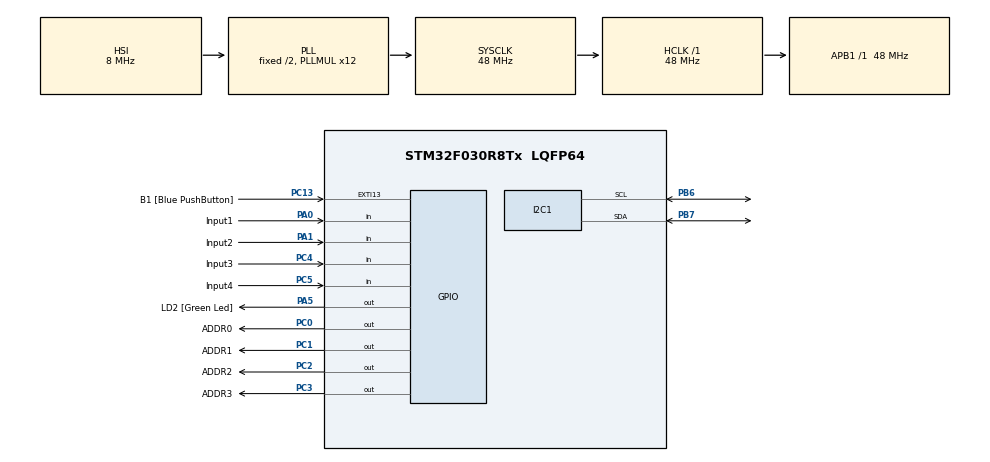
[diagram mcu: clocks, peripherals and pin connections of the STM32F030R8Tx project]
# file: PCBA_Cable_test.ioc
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I2C1.Speed=10
I2C1.Timing=0x200009FE
Mcu.Family=STM32F0
Mcu.Name=STM32F030R8Tx
Mcu.Package=LQFP64
NVIC.EXTI4_15_IRQn=true\:0\:0\:false\:false\:true\:true\:true\:true
NVIC.TIM3_IRQn=true\:0\:0\:false\:false\:true\:true\:true\:true
PA0.GPIO_Label=Input1
PA0.GPIO_PuPd=GPIO_PULLDOWN
PA0.Signal=GPIO_Input
PA1.GPIO_Label=Input2
PA1.GPIO_PuPd=GPIO_PULLDOWN
PA1.Signal=GPIO_Input
PA13.GPIO_Label=TMS
PA13.Mode=Serial_Wire
PA13.Signal=SYS_SWDIO
PA14.GPIO_Label=TCK
PA14.Mode=Serial_Wire
PA14.Signal=SYS_SWCLK
PA5.GPIO_Label=LD2 [Green Led]
PA5.GPIO_Mode=GPIO_MODE_OUTPUT_PP
PA5.GPIO_PuPd=GPIO_NOPULL
PA5.GPIO_Speed=GPIO_SPEED_FREQ_LOW
PA5.Signal=GPIO_Output
PB6.Mode=I2C
PB6.Signal=I2C1_SCL
PB7.Mode=I2C
PB7.Signal=I2C1_SDA
PC0.GPIO_Label=ADDR0
PC0.Signal=GPIO_Output
PC1.GPIO_Label=ADDR1
PC1.Signal=GPIO_Output
PC13.GPIO_Label=B1 [Blue PushButton]
PC13.GPIO_PuPd=GPIO_PULLUP
PC13.Signal=GPXTI13
PC14-OSC32_IN.Mode=LSE-External-Oscillator
PC14-OSC32_IN.Signal=RCC_OSC32_IN
PC15-OSC32_OUT.Mode=LSE-External-Oscillator
PC15-OSC32_OUT.Signal=RCC_OSC32_OUT
PC2.GPIO_Label=ADDR2
PC2.Signal=GPIO_Output
PC3.GPIO_Label=ADDR3
PC3.Signal=GPIO_Output
PC4.GPIO_Label=Input3
PC4.GPIO_PuPd=GPIO_PULLDOWN
PC4.Signal=GPIO_Input
PC5.GPIO_Label=Input4
PC5.GPIO_PuPd=GPIO_PULLDOWN
PC5.Signal=GPIO_Input
PF0-OSC_IN.Mode=HSE-External-Clock-Source
PF0-OSC_IN.Signal=RCC_OSC_IN
PF1-OSC_OUT.Signal=RCC_OSC_OUT
ProjectManager.HeapSize=0x200
ProjectManager.StackSize=0x400
ProjectManager.TargetToolchain=STM32CubeIDE
RCC.AHBFreq_Value=48000000
RCC.APB1Freq_Value=48000000
RCC.APB1TimFreq_Value=48000000
RCC.HCLKFreq_Value=48000000
RCC.PLLMUL=RCC_PLL_MUL12
RCC.SYSCLKFreq_VALUE=48000000
RCC.SYSCLKSource=RCC_SYSCLKSOURCE_PLLCLK
TIM3.Period=49999
TIM3.Prescaler=47
VP_TIM3_VS_ClockSourceINT.Mode=Internal
board=NUCLEO-F030R8

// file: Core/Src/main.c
/* USER CODE BEGIN Header */
/**
  ******************************************************************************
  * @file           : main.c
  * @brief          : Main program body
  ******************************************************************************
  * @attention
  *
  * Copyright (c) 2024 STMicroelectronics.
  * All rights reserved.
  *
  * This software is licensed under terms that can be found in the LICENSE file
  * in the root directory of this software component.
  * If no LICENSE file comes with this software, it is provided AS-IS.
  *
  ******************************************************************************
  */
/* USER CODE END Header */
#include "main.h"

I2C_HandleTypeDef hi2c1;

TIM_HandleTypeDef htim3;

/* USER CODE BEGIN PV */

static uint8_t init[9] = {0x80, 0x28, 0x80, 0x0C, 0x80, 0x01, 0x02}; // init
static uint8_t pin[6] = {0x80, 0x06, 0x62, 0x50, 0x49, 0x4E}; //pin

  uint8_t lineone[2] = {0x80, 0x06};
  uint8_t linetwo_0[2] = {0x80, 0xC0};
  uint8_t linetwo_3[2] = {0x80, 0xC3};
  //uint8_t S_1[2] = {0x40, 0x31};
  uint8_t S_1[3] = {0x40, 0x31, 0x20};
  //uint8_t S_1[2] = {64, 49};
  uint8_t S_2[2] = {0x40, 0x32};
  uint8_t S_3[2] = {0x40, 0x33};
  uint8_t S_4[2] = {0x40, 0x34};
  uint8_t S_5[2] = {0x40, 0x35};
  uint8_t S_6[2] = {0x40, 0x36};
  uint8_t S_7[2] = {0x40, 0x37};
  uint8_t S_8[2] = {0x40, 0x38};
  uint8_t S_9[2] = {0x40, 0x39};
  uint8_t S_10[3] = {0x40, 0x31, 0x30};
  uint8_t S_11[3] = {0x40, 0x31, 0x31};
  uint8_t S_12[3] = {0x40, 0x31, 0x32};
  uint8_t S_13[3] = {0x40, 0x31, 0x33};
  uint8_t S_14[3] = {0x40, 0x31, 0x34};
  uint8_t S_15[3] = {0x40, 0x31, 0x35};
  uint8_t S_16[3] = {0x40, 0x31, 0x36};
  uint8_t S_17[3] = {0x40, 0x31, 0x37};
  uint8_t S_18[3] = {0x40, 0x31, 0x38};
  uint8_t S_19[3] = {0x40, 0x31, 0x39};

  uint8_t space [3] = {0x40, 0x20, 0x20};

  int binary_array[4];
  int temp=0;
  int n;
  const int size = 4;
  int send_ready=0;

  //const int size = 4;
  // Define a structure to hold binary values

/* USER CODE END PV */

void SystemClock_Config(void);
static void MX_GPIO_Init(void);
static void MX_I2C1_Init(void);
static void MX_TIM3_Init(void);

/* USER CODE BEGIN 0 */

struct STR{
   unsigned int A : 1;
   unsigned int B : 1;
   unsigned int C : 1;
   unsigned int D : 1;
   unsigned int rest : 4;
};

union u_STR_S {
    struct STR member1;
    unsigned int member2;
};

union u_STR_S u_STR;
struct STR STR_test;
unsigned int a = 2;

/* USER CODE END 0 */

int main(void)
{

  /* MCU Configuration--------------------------------------------------------*/

  /* Reset of all peripherals, Initializes the Flash interface and the Systick. */
  HAL_Init();

  /* Configure the system clock */
  SystemClock_Config();

  /* Initialize all configured peripherals */
  MX_GPIO_Init();
  MX_I2C1_Init();
  MX_TIM3_Init();
  /* USER CODE BEGIN 2 */

  HAL_TIM_Base_Start_IT(&htim3);

  HAL_I2C_Master_Transmit(&hi2c1, 0x7C, &init, 7, 100);

  HAL_I2C_Master_Transmit(&hi2c1, 0x7C, &pin, 6, 100);

  /* USER CODE END 2 */

  /* Infinite loop */
  while (1)
  {

    /* USER CODE BEGIN 3 */

		if(send_ready == 1)
		{
			HAL_I2C_Master_Transmit(&hi2c1, 0x7C, &linetwo_0, 2, 100); // zmień linię na 2
			HAL_I2C_Master_Transmit(&hi2c1, 0x7C, &S_1, 3, 100);  // pin 1
			HAL_Delay(1000);
			send_ready = 0;

		}else if (temp == 0)
		{

			HAL_I2C_Master_Transmit(&hi2c1, 0x7C, &linetwo_0, 2, 100);
			HAL_I2C_Master_Transmit(&hi2c1, 0x7C, &space, 3, 100);
			HAL_I2C_Master_Transmit(&hi2c1, 0x7C, &linetwo_3, 2, 100);
			HAL_I2C_Master_Transmit(&hi2c1, 0x7C, &space, 3, 100);
		}

	  /*

    for (int count = 0; count <= 15; count++) {
//adresowanie multiplekserów od 0 to 15

        //int temp = count; // temp staje się globalny

    	temp = count;
        int n;
				//for (int i = size - 1; i >= 0; i--)
				for (int i = 0; i < size; i++)
				{

					n = power (2, i);
					binary_array[i] = temp % 2;
					if (binary_array[i] == 1)
						{
							HAL_GPIO_WritePin(GPIOC, n, GPIO_PIN_SET);
							HAL_Delay(20);
						}
					else if(binary_array[i] == 0)
						{
							HAL_GPIO_WritePin(GPIOC, n, GPIO_PIN_RESET);
							HAL_Delay(20);
						}

					temp /= 2;
//					HAL_Delay(50);

				}

/*				if (HAL_GPIO_ReadPin(GPIOA, Input1_Pin)==GPIO_PIN_SET)

					{
						if (count <=9)
						{
							S_1[1] = 48 + count;
							S_1[2] = 32;
						}
							else
						{
							S_1[1] = 49;
							S_1[2] = 48 + count-10;
						}
						HAL_I2C_Master_Transmit(&hi2c1, 0x7C, &linetwo_0, 2, 100); // zmień linię na 2
						HAL_I2C_Master_Transmit(&hi2c1, 0x7C, &S_1, 3, 100);  // pin 1
//						HAL_Delay(150);
					}

				if (HAL_GPIO_ReadPin(GPIOA, Input2_Pin)==GPIO_PIN_SET)
					{
					  HAL_I2C_Master_Transmit(&hi2c1, 0x7C, &linetwo_3, 2, 100); // zmień linię na 2
					  HAL_I2C_Master_Transmit(&hi2c1, 0x7C, &S_17, 3, 100);  // pin 1
					}

    }
*/

  }
  /* USER CODE END 3 */
}

void SystemClock_Config(void)
{
  RCC_OscInitTypeDef RCC_OscInitStruct = {0};
  RCC_ClkInitTypeDef RCC_ClkInitStruct = {0};
  RCC_PeriphCLKInitTypeDef PeriphClkInit = {0};

  /** Initializes the RCC Oscillators according to the specified parameters
  * in the RCC_OscInitTypeDef structure.
  */
  RCC_OscInitStruct.OscillatorType = RCC_OSCILLATORTYPE_HSI;
  RCC_OscInitStruct.HSIState = RCC_HSI_ON;
  RCC_OscInitStruct.HSICalibrationValue = RCC_HSICALIBRATION_DEFAULT;
  RCC_OscInitStruct.PLL.PLLState = RCC_PLL_ON;
  RCC_OscInitStruct.PLL.PLLSource = RCC_PLLSOURCE_HSI;
  RCC_OscInitStruct.PLL.PLLMUL = RCC_PLL_MUL12;
  RCC_OscInitStruct.PLL.PREDIV = RCC_PREDIV_DIV1;
  if (HAL_RCC_OscConfig(&RCC_OscInitStruct) != HAL_OK)
  {
    Error_Handler();
  }

  /** Initializes the CPU, AHB and APB buses clocks
  */
  RCC_ClkInitStruct.ClockType = RCC_CLOCKTYPE_HCLK|RCC_CLOCKTYPE_SYSCLK
                              |RCC_CLOCKTYPE_PCLK1;
  RCC_ClkInitStruct.SYSCLKSource = RCC_SYSCLKSOURCE_PLLCLK;
  RCC_ClkInitStruct.AHBCLKDivider = RCC_SYSCLK_DIV1;
  RCC_ClkInitStruct.APB1CLKDivider = RCC_HCLK_DIV1;

  if (HAL_RCC_ClockConfig(&RCC_ClkInitStruct, FLASH_LATENCY_1) != HAL_OK)
  {
    Error_Handler();
  }
  PeriphClkInit.PeriphClockSelection = RCC_PERIPHCLK_I2C1;
  PeriphClkInit.I2c1ClockSelection = RCC_I2C1CLKSOURCE_HSI;
  if (HAL_RCCEx_PeriphCLKConfig(&PeriphClkInit) != HAL_OK)
  {
    Error_Handler();
  }
}

static void MX_I2C1_Init(void)
{

  hi2c1.Instance = I2C1;
  hi2c1.Init.Timing = 0x200009FE;
  hi2c1.Init.OwnAddress1 = 0;
  hi2c1.Init.AddressingMode = I2C_ADDRESSINGMODE_7BIT;
  hi2c1.Init.DualAddressMode = I2C_DUALADDRESS_DISABLE;
  hi2c1.Init.OwnAddress2 = 0;
  hi2c1.Init.OwnAddress2Masks = I2C_OA2_NOMASK;
  hi2c1.Init.GeneralCallMode = I2C_GENERALCALL_DISABLE;
  hi2c1.Init.NoStretchMode = I2C_NOSTRETCH_DISABLE;
  if (HAL_I2C_Init(&hi2c1) != HAL_OK)
  {
    Error_Handler();
  }

  /** Configure Analogue filter
  */
  if (HAL_I2CEx_ConfigAnalogFilter(&hi2c1, I2C_ANALOGFILTER_ENABLE) != HAL_OK)
  {
    Error_Handler();
  }

  /** Configure Digital filter
  */
  if (HAL_I2CEx_ConfigDigitalFilter(&hi2c1, 0) != HAL_OK)
  {
    Error_Handler();
  }

}

static void MX_TIM3_Init(void)
{

  TIM_ClockConfigTypeDef sClockSourceConfig = {0};
  TIM_MasterConfigTypeDef sMasterConfig = {0};

  htim3.Instance = TIM3;
  htim3.Init.Prescaler = 47;
  htim3.Init.CounterMode = TIM_COUNTERMODE_UP;
  htim3.Init.Period = 49999;
  htim3.Init.ClockDivision = TIM_CLOCKDIVISION_DIV1;
  htim3.Init.AutoReloadPreload = TIM_AUTORELOAD_PRELOAD_DISABLE;
  if (HAL_TIM_Base_Init(&htim3) != HAL_OK)
  {
    Error_Handler();
  }
  sClockSourceConfig.ClockSource = TIM_CLOCKSOURCE_INTERNAL;
  if (HAL_TIM_ConfigClockSource(&htim3, &sClockSourceConfig) != HAL_OK)
  {
    Error_Handler();
  }
  sMasterConfig.MasterOutputTrigger = TIM_TRGO_RESET;
  sMasterConfig.MasterSlaveMode = TIM_MASTERSLAVEMODE_DISABLE;
  if (HAL_TIMEx_MasterConfigSynchronization(&htim3, &sMasterConfig) != HAL_OK)
  {
    Error_Handler();
  }

}

static void MX_GPIO_Init(void)
{
  GPIO_InitTypeDef GPIO_InitStruct = {0};

  /* GPIO Ports Clock Enable */
  __HAL_RCC_GPIOC_CLK_ENABLE();
  __HAL_RCC_GPIOF_CLK_ENABLE();
  __HAL_RCC_GPIOA_CLK_ENABLE();
  __HAL_RCC_GPIOB_CLK_ENABLE();

  /*Configure GPIO pin Output Level */
  HAL_GPIO_WritePin(GPIOC, ADDR0_Pin|ADDR1_Pin|ADDR2_Pin|ADDR3_Pin, GPIO_PIN_RESET);

  /*Configure GPIO pin Output Level */
  HAL_GPIO_WritePin(LD2_GPIO_Port, LD2_Pin, GPIO_PIN_RESET);

  /*Configure GPIO pin : B1_Pin */
  GPIO_InitStruct.Pin = B1_Pin;
  GPIO_InitStruct.Mode = GPIO_MODE_IT_RISING;
  GPIO_InitStruct.Pull = GPIO_PULLUP;
  HAL_GPIO_Init(B1_GPIO_Port, &GPIO_InitStruct);

  /*Configure GPIO pins : ADDR0_Pin ADDR1_Pin ADDR2_Pin ADDR3_Pin */
  GPIO_InitStruct.Pin = ADDR0_Pin|ADDR1_Pin|ADDR2_Pin|ADDR3_Pin;
  GPIO_InitStruct.Mode = GPIO_MODE_OUTPUT_PP;
  GPIO_InitStruct.Pull = GPIO_NOPULL;
  GPIO_InitStruct.Speed = GPIO_SPEED_FREQ_LOW;
  HAL_GPIO_Init(GPIOC, &GPIO_InitStruct);

  /*Configure GPIO pins : Input1_Pin Input2_Pin */
  GPIO_InitStruct.Pin = Input1_Pin|Input2_Pin;
  GPIO_InitStruct.Mode = GPIO_MODE_INPUT;
  GPIO_InitStruct.Pull = GPIO_PULLDOWN;
  HAL_GPIO_Init(GPIOA, &GPIO_InitStruct);

  /*Configure GPIO pin : LD2_Pin */
  GPIO_InitStruct.Pin = LD2_Pin;
  GPIO_InitStruct.Mode = GPIO_MODE_OUTPUT_PP;
  GPIO_InitStruct.Pull = GPIO_NOPULL;
  GPIO_InitStruct.Speed = GPIO_SPEED_FREQ_LOW;
  HAL_GPIO_Init(LD2_GPIO_Port, &GPIO_InitStruct);

  /*Configure GPIO pins : Input3_Pin Input4_Pin */
  GPIO_InitStruct.Pin = Input3_Pin|Input4_Pin;
  GPIO_InitStruct.Mode = GPIO_MODE_INPUT;
  GPIO_InitStruct.Pull = GPIO_PULLDOWN;
  HAL_GPIO_Init(GPIOC, &GPIO_InitStruct);

  /* EXTI interrupt init*/
  HAL_NVIC_SetPriority(EXTI4_15_IRQn, 0, 0);
  HAL_NVIC_EnableIRQ(EXTI4_15_IRQn);

}

/* USER CODE BEGIN 4 */

void HAL_GPIO_EXTI_Callback(uint16_t GPIO_Pin)
{
  if(GPIO_Pin == GPIO_PIN_13) {

	  HAL_GPIO_TogglePin(LD2_GPIO_Port, LD2_Pin);

	  HAL_I2C_Master_Transmit(&hi2c1, 0x7C, &linetwo_3, 2, 100); // zmień linię na 2
	  HAL_I2C_Master_Transmit(&hi2c1, 0x7C, &S_17, 3, 100);  // pin 1
  }
/*
  else if (GPIO_Pin == Input3_Pin) {

//	  HAL_GPIO_TogglePin(LD2_GPIO_Port, LD2_Pin);

  }
  else if (GPIO_Pin == Input4_Pin) {

//	  HAL_GPIO_TogglePin(LD2_GPIO_Port, LD2_Pin);

  }
*/
  else {

      __NOP();
  }
}

void HAL_TIM_PeriodElapsedCallback(TIM_HandleTypeDef* htim)
{

	if(temp <= 15)
	{
		  u_STR.member2=temp;

		  binary_array[0] = u_STR.member1.A;
		  binary_array[1] = u_STR.member1.B;
		  binary_array[2] = u_STR.member1.C;
		  binary_array[3] = u_STR.member1.D;

		  for (int i = 0; i < size; i++)
		  {
			n = pow(2, i);
			if (binary_array[i] == 1)
			{
				HAL_GPIO_WritePin(GPIOC, n, GPIO_PIN_SET);
			}
			else
			{
				HAL_GPIO_WritePin(GPIOC, n, GPIO_PIN_RESET);
			}
		  }
		  if (HAL_GPIO_ReadPin(GPIOC, Input3_Pin)==GPIO_PIN_SET)
		  {
				HAL_GPIO_TogglePin(LD2_GPIO_Port, LD2_Pin);
				if (temp <=9)
				{
					S_1[1] = 48 + temp;
					S_1[2] = 32;
				}
					else
				{
					S_1[1] = 49;
					S_1[2] = 48 + temp-10;
				}
				send_ready = 1;

		  }

		  temp++;

	}	else
	{

		temp = 0;
	}

//	HAL_GPIO_TogglePin(LD2_GPIO_Port, LD2_Pin);
	/*
	HAL_I2C_Master_Transmit(&hi2c1, 0x7C, &linetwo_0, 2, 100);
	HAL_I2C_Master_Transmit(&hi2c1, 0x7C, &space, 3, 100);
	HAL_I2C_Master_Transmit(&hi2c1, 0x7C, &linetwo_3, 2, 100);
	HAL_I2C_Master_Transmit(&hi2c1, 0x7C, &space, 3, 100);
*/
}

/*
void HAL_RTC_AlarmAEventCallback(RTC_HandleTypeDef *hrtc) {
  RTC_AlarmTypeDef sAlarm;
  HAL_RTC_GetAlarm(hrtc,&sAlarm,RTC_ALARM_A,FORMAT_BIN);
  if(sAlarm.AlarmTime.Seconds>58) {
    sAlarm.AlarmTime.Seconds=0;
  }else{
    sAlarm.AlarmTime.Seconds=sAlarm.AlarmTime.Seconds+1;
  }
    while(HAL_RTC_SetAlarm_IT(hrtc, &sAlarm, FORMAT_BIN)!=HAL_OK){}
  HAL_GPIO_TogglePin(LD2_GPIO_Port, LD2_Pin);
  //HAL_GPIO_TogglePin(GPIOA, GPIO_PIN_5);
}*/
/* USER CODE END 4 */

void Error_Handler(void)
{
  __disable_irq();
  while (1)
  {
  }
}
